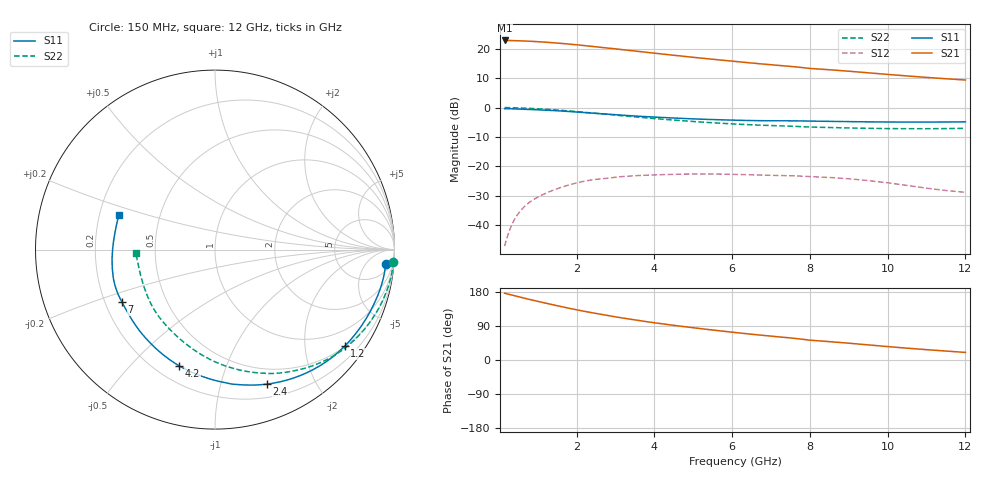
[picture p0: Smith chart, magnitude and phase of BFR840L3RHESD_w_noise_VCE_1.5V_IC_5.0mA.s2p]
! Infineon Technologies  Discrete & RF Semiconductors
! BFR840L3RHESD
! VCE =  1.5 V,  IC =  5.0 mA
! Common Emitter S-Parameters:  Jun 2012
# GHz  S  MA  R  50
!  f  S11  S21  S12  S22
! GHz  MAG  ANG  MAG  ANG  MAG  ANG  MAG  ANG
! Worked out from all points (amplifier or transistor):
!   91 points, 150 MHz to 12 GHz, reference 50 ohm
!   highest |S21| = 22.8 dB at 150 MHz (marker M1)
!   |S21| within 3 dB of that: start of sweep to 3.094 GHz
!   unconditionally stable (mu >= 1): 9.267 GHz to end of sweep
!   at 1.3 GHz: K = 0.10, MSG = 25.4 dB, |S12| = -28.6 dB
!   at 4.3 GHz: K = 0.29, MSG = 20.4 dB, |S12| = -22.8 dB
!   at 12 GHz: K = 2.39, MAG = 12.5 dB, |S12| = -28.8 dB
!   lowest NFmin = 0.50 dB at 450 MHz
!   S11 on the Smith chart (normalised r, x): 150 MHz: 10, -18; 1.2 GHz: 0.51, -2.94; 2.4 GHz: 0.33, -1.40; 4.2 GHz: 0.29, -0.70; 7 GHz: 0.27, -0.25; 12 GHz: 0.28, +0.16
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0.15  0.9539 -4.9  13.79 176.1  0.0044 84.4  0.9965 -3.9
0.35  0.9494 -11.2  13.71 171.1  0.0107 80.1  0.9914 -9.3
0.6  0.9365 -18.8  13.54 164.6  0.0189 77.2  0.979 -15.8
0.9  0.9193 -27.9  13.25 157.2  0.0274 70.4  0.959 -23.2
1.2  0.9011 -36.6  12.88 150.2  0.0347 63.6  0.9348 -30.5
1.5  0.88 -45.1  12.45 143.3  0.0416 58.2  0.9067 -37.6
1.7  0.864 -50.6  12.13 138.9  0.0461 55.0  0.8859 -42.1
2  0.838 -58.8  11.63 132.5  0.0523 50.2  0.8522 -48.7
2.2  0.8203 -64.0  11.28 128.5  0.0559 46.8  0.829 -52.9
2.4  0.8032 -68.9  10.93 124.7  0.0589 43.4  0.8062 -56.9
3  0.7554 -82.8  9.932 113.9  0.0654 35.7  0.7425 -68.1
3.3  0.7311 -89.3  9.426 109.0  0.0679 31.6  0.7116 -73.6
3.7  0.7048 -97.5  8.816 102.7  0.0703 26.8  0.6746 -80.3
4.2  0.6777 -107.1  8.112 95.5  0.0722 21.5  0.6339 -88.2
4.7  0.6537 -116.0  7.479 88.9  0.0736 16.7  0.598 -95.7
5.1  0.6372 -122.9  7.025 83.9  0.0741 13.3  0.5725 -101.4
6.1  0.6082 -138.2  6.046 72.3  0.0729 5.9  0.5231 -115.1
7  0.5953 -150.4  5.331 63.0  0.0704 0.5  0.4939 -126.7
8  0.5874 -165.0  4.611 52.3  0.067 -5.6  0.4657 -140.6
8.5  0.5816 -169.8  4.382 48.5  0.0647 -7.9  0.4571 -145.3
10.5  0.5654 170.7  3.438 31.2  0.0474 -14.6  0.4363 -165.5
12  0.5702 160.2  2.931 20.0  0.0362 -6.7  0.4426 -177.3
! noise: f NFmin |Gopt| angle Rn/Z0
0.45  0.5  0.54  7  0.19
0.9  0.54  0.53  11  0.18
1.9  0.57  0.52  28  0.18
3.5  0.59  0.52  47  0.16
4  0.61  0.51  55  0.16
5.5  0.66  0.52  70  0.14
7  0.73  0.5  89  0.13
8  0.79  0.46  100  0.12
10  0.93  0.42  122  0.1
12  1.1  0.35  153  0.08
